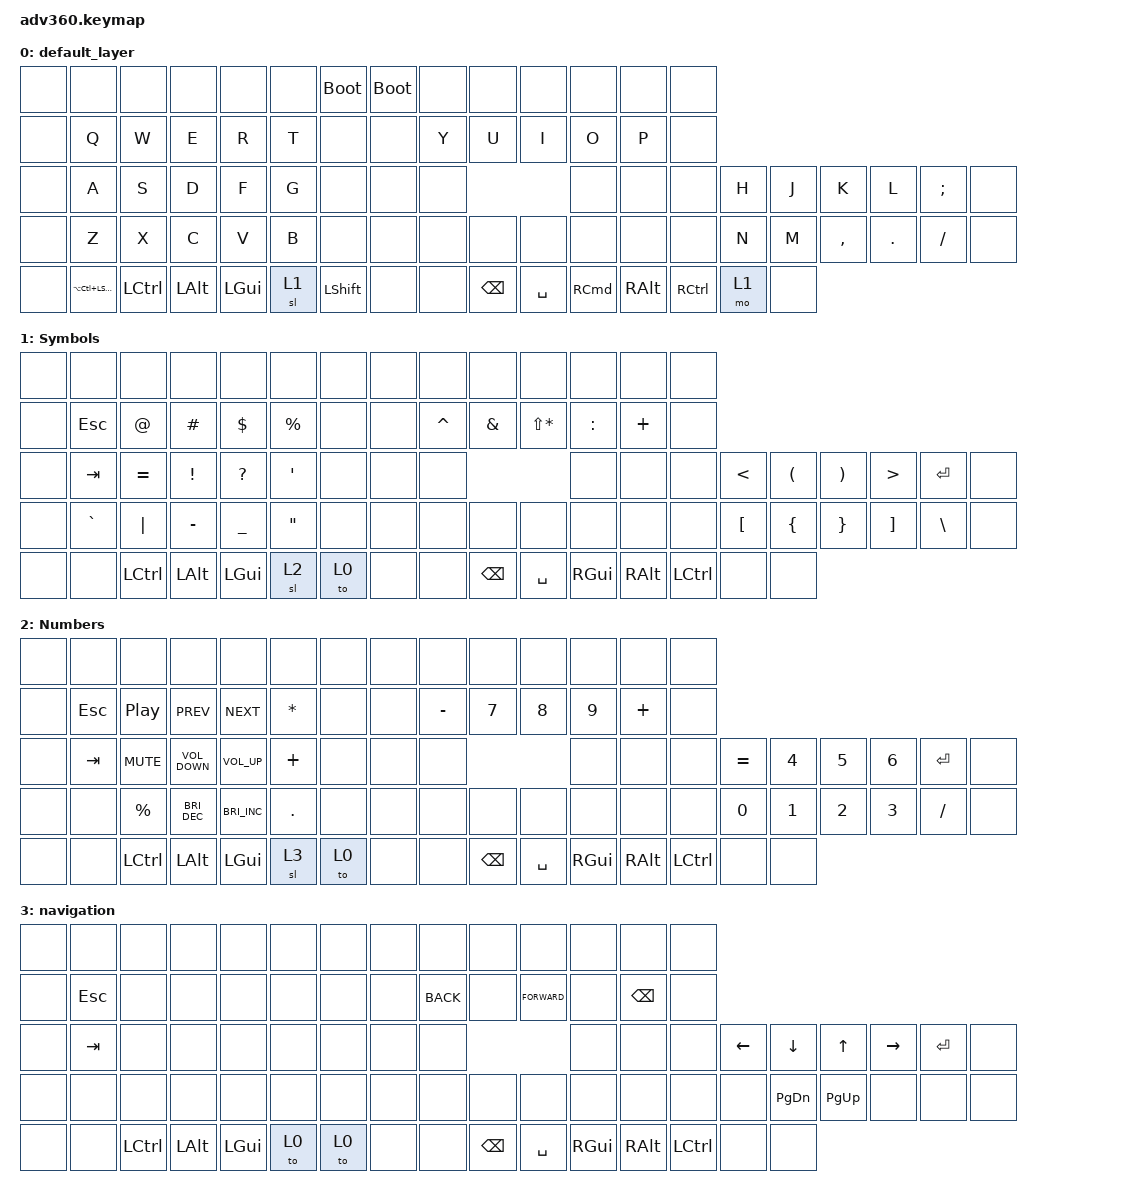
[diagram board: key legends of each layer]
/*
 * Copyright (c) 2020 The ZMK Contributors
 *
 * SPDX-License-Identifier: MIT
 */
/* THIS FILE WAS GENERATED!
 *
 * This file was generated automatically. You may or may not want to
 * edit it directly.
 */

#include <behaviors.dtsi>
#include <dt-bindings/zmk/keys.h>

/ {
    behaviors {
        quick_mt: quick_mt {
            compatible = "zmk,behavior-hold-tap";
            label = "QUICK_MT";
            bindings =
                <&kp>,
                <&kp>;

            #binding-cells = <2>;
            flavor = "tap-preferred";
            tapping-term-ms = <175>;
            quick-tap-ms = <100>;
            global-quick-tap;
        };
        quick_lt: quick_lt {
            compatible = "zmk,behavior-hold-tap";
            label = "QUICK_LT";
            bindings =
                <&mo>,
                <&kp>;

            #binding-cells = <2>;
            tapping-term-ms = <175>;
            flavor = "tap-preferred";
            quick-tap-ms = <100>;
            global-quick-tap;
        };
        homerow_mod: homerow_mod {
            compatible = "zmk,behavior-hold-tap";
            label = "HOMEROW_MOD";
            bindings =
                <&kp>,
                <&kp>;

            #binding-cells = <2>;
            tapping-term-ms = <150>;
            quick-tap-ms = <0>;
            flavor = "tap-preferred";
        };
    };

    combos {
        compatible = "zmk,combos";

        new_combo {
            bindings = <&trans>;
            key-positions = <>;
        };
    };

    keymap {
        compatible = "zmk,keymap";

        default_layer {
            bindings = <
&none              &none      &none     &none     &none  &none  &bootloader  &bootloader  &none     &none      &none     &none     &none      &none
&none              &kp Q      &kp W     &kp E     &kp R  &kp T        &none        &none  &kp Y     &kp U      &kp I     &kp O     &kp P      &none
&none              &kp A      &kp S     &kp D     &kp F  &kp G        &none        &none  &none                          &none     &none      &none  &kp H  &kp J      &kp K       &kp L   &kp SEMI  &none
&none              &kp Z      &kp X     &kp C     &kp V  &kp B        &none        &none  &none     &none      &none     &none     &none      &none  &kp N  &kp M  &kp COMMA  &kp PERIOD  &kp SLASH  &none
&none  &kp LA(LC(LSHFT))  &kp LCTRL  &kp LALT  &kp LGUI  &sl 1    &kp LSHFT        &none  &none  &kp BSPC  &kp SPACE  &kp RCMD  &kp RALT  &kp RCTRL  &mo 1  &none
            >;
        };

        layer_symbols {
            bindings = <
&none       &none        &none            &none           &none              &none  &none  &none      &none          &none             &none      &none     &none      &none
&none  &kp ESCAPE  &kp AT_SIGN         &kp HASH      &kp DOLLAR        &kp PERCENT  &none  &none  &kp CARET  &kp AMPERSAND  &kp LS(ASTERISK)  &kp COLON  &kp PLUS      &none
&none     &kp TAB    &kp EQUAL  &kp EXCLAMATION    &kp QUESTION   &kp SINGLE_QUOTE  &none  &none      &none                                       &none     &none      &none     &kp LESS_THAN  &kp LEFT_PARENTHESIS  &kp RIGHT_PARENTHESIS   &kp GREATER_THAN      &kp ENTER  &none
&none   &kp GRAVE     &kp PIPE        &kp MINUS  &kp UNDERSCORE  &kp DOUBLE_QUOTES  &none  &none      &none          &none             &none      &none     &none      &none  &kp LEFT_BRACKET        &kp LEFT_BRACE        &kp RIGHT_BRACE  &kp RIGHT_BRACKET  &kp BACKSLASH  &none
&none       &none    &kp LCTRL         &kp LALT        &kp LGUI              &sl 2  &to 0  &none      &none       &kp BSPC         &kp SPACE   &kp RGUI  &kp RALT  &kp LCTRL             &none                 &none
            >;

            label = "Symbols";
        };

        layer_numbers {
            bindings = <
&none       &none             &none                 &none                 &none         &none  &none  &none      &none     &none      &none     &none     &none      &none
&none  &kp ESCAPE  &kp C_PLAY_PAUSE            &kp C_PREV            &kp C_NEXT  &kp ASTERISK  &none  &none  &kp MINUS    &kp N7     &kp N8    &kp N9  &kp PLUS      &none
&none     &kp TAB        &kp K_MUTE     &kp C_VOLUME_DOWN       &kp C_VOLUME_UP      &kp PLUS  &none  &none      &none                          &none     &none      &none     &kp EQUAL  &kp NUMBER_4  &kp N5  &kp N6  &kp ENTER  &none
&none       &none       &kp PERCENT  &kp C_BRIGHTNESS_DEC  &kp C_BRIGHTNESS_INC    &kp PERIOD  &none  &none      &none     &none      &none     &none     &none      &none  &kp NUMBER_0  &kp NUMBER_1  &kp N2  &kp N3  &kp SLASH  &none
&none       &none         &kp LCTRL              &kp LALT              &kp LGUI         &sl 3  &to 0  &none      &none  &kp BSPC  &kp SPACE  &kp RGUI  &kp RALT  &kp LCTRL         &none         &none
            >;

            label = "Numbers";
        };

        layer_nav {
            bindings = <
&none    &none      &none     &none     &none  &none  &none  &none       &none     &none          &none     &none     &none      &none
&none  &kp ESC      &none     &none     &none  &none  &none  &none  &kp K_BACK     &none  &kp K_FORWARD     &none  &kp BSPC      &none
&none  &kp TAB      &none     &none     &none  &none  &none  &none       &none                              &none     &none      &none  &kp LEFT       &kp DOWN       &kp UP  &kp RIGHT  &kp RET  &none
&none    &none      &none     &none     &none  &none  &none  &none       &none     &none          &none     &none     &none      &none     &none  &kp PAGE_DOWN  &kp PAGE_UP      &none    &none  &none
&none    &none  &kp LCTRL  &kp LALT  &kp LGUI  &to 0  &to 0  &none       &none  &kp BSPC      &kp SPACE  &kp RGUI  &kp RALT  &kp LCTRL     &none          &none
            >;

            label = "navigation";
        };
    };
};
